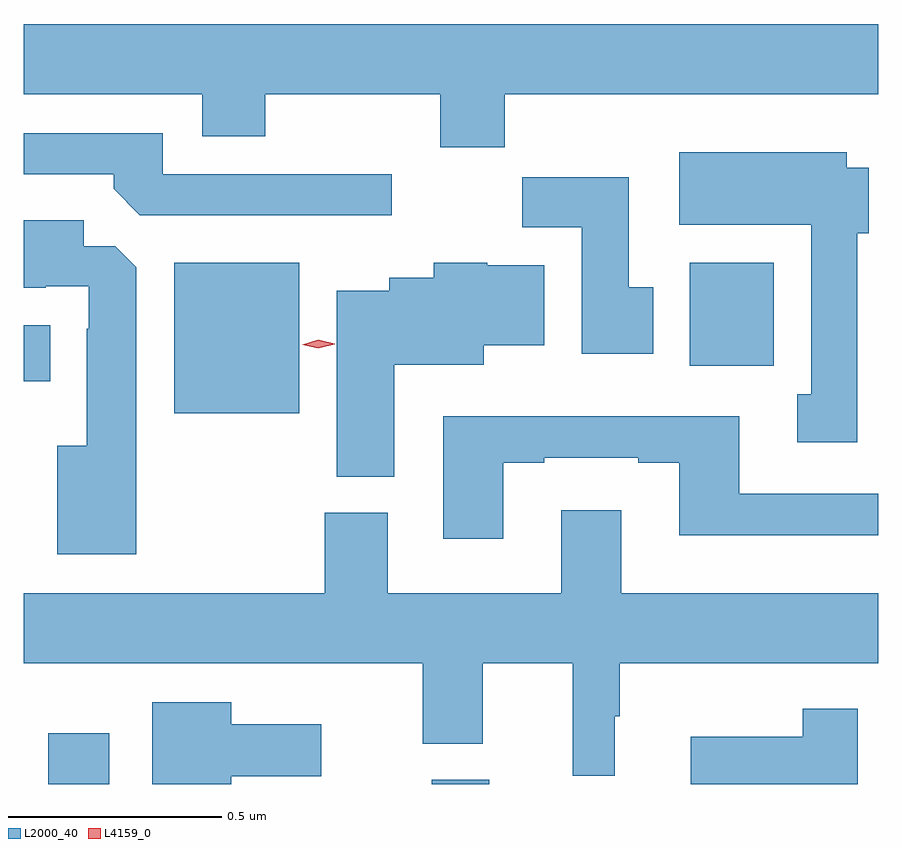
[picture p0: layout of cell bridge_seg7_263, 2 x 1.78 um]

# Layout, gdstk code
import gdstk
lib = gdstk.Library(unit=1e-6, precision=1e-09)
def R(c, l, rs):  # rectangles x0, y0, x1, y1
    for r in rs: c.add(gdstk.rectangle(r[:2], r[2:], *l))
def P(c, l, *ps):  # polygons
    for p in ps: c.add(gdstk.Polygon(p, *l))
L2000_40 = (2000, 40)
L4159_0 = (4159, 0)

bridge_seg7_263 = lib.new_cell('bridge_seg7_263')
R(bridge_seg7_263, L2000_40, [(170.669,1033.634,170.812,1033.753), (171.566,1033.634,171.7,1033.644), (170.963,1034.501,171.256,1034.854), (170.611,1034.576,170.674,1034.707), (172.169,1034.612,172.366,1034.854)])
P(bridge_seg7_263, L2000_40, [(171.737,1035.248),(172.611,1035.248),(172.611,1035.412),(170.611,1035.412),(170.611,1035.248),(171.029,1035.248),(171.029,1035.149),(171.177,1035.149),(171.177,1035.248),(171.586,1035.248),(171.586,1035.124),(171.737,1035.124)],
  [(171.472,1035.06),(170.937,1035.06),(170.937,1035.156),(170.611,1035.156),(170.611,1035.06),(170.822,1035.06),(170.822,1035.026),(170.883,1034.964),(171.472,1034.964)],
  [(172.561,1034.922),(172.588,1034.922),(172.588,1035.076),(172.537,1035.076),(172.537,1035.112),(172.145,1035.112),(172.145,1034.942),(172.454,1034.942),(172.454,1034.546),(172.421,1034.546),(172.421,1034.433),(172.561,1034.433)],
  [(172.084,1034.796),(172.027,1034.796),(172.027,1035.054),(171.778,1035.054),(171.778,1034.936),(171.917,1034.936),(171.917,1034.64),(172.084,1034.64)],
  [(170.875,1034.843),(170.826,1034.892),(170.752,1034.892),(170.752,1034.953),(170.611,1034.953),(170.611,1034.795),(170.663,1034.795),(170.663,1034.799),(170.763,1034.799),(170.763,1034.699),(170.759,1034.699),(170.759,1034.425),(170.69,1034.425),(170.69,1034.171),(170.875,1034.171)],
  [(171.478,1034.615),(171.688,1034.615),(171.688,1034.66),(171.829,1034.66),(171.829,1034.848),(171.696,1034.848),(171.696,1034.854),(171.571,1034.854),(171.571,1034.818),(171.467,1034.818),(171.467,1034.788),(171.344,1034.788),(171.344,1034.353),(171.478,1034.353)],
  [(171.733,1034.385),(171.829,1034.385),(171.829,1034.397),(172.049,1034.397),(172.049,1034.385),(172.145,1034.385),(172.145,1034.216),(172.611,1034.216),(172.611,1034.313),(172.285,1034.313),(172.285,1034.494),(171.593,1034.494),(171.593,1034.208),(171.733,1034.208)],
  [(171.994,1033.793),(172.006,1033.793),(172.006,1033.916),(172.611,1033.916),(172.611,1034.08),(172.009,1034.08),(172.009,1034.275),(171.869,1034.275),(171.869,1034.08),(171.463,1034.08),(171.463,1034.268),(171.316,1034.268),(171.316,1034.08),(170.611,1034.08),(170.611,1033.916),(171.545,1033.916),(171.545,1033.728),(171.685,1033.728),(171.685,1033.916),(171.896,1033.916),(171.896,1033.653),(171.994,1033.653)],
  [(171.097,1033.652),(171.307,1033.652),(171.307,1033.774),(171.097,1033.774),(171.097,1033.825),(170.912,1033.825),(170.912,1033.634),(171.097,1033.634)],
  [(172.562,1033.81),(172.434,1033.81),(172.434,1033.744),(172.172,1033.744),(172.172,1033.634),(172.562,1033.634)])
P(bridge_seg7_263, L4159_0, [(171.301,1034.653),(171.263,1034.662),(171.263,1034.662),(171.263,1034.662),(171.301,1034.673),(171.339,1034.664),(171.339,1034.663),(171.339,1034.663)])

lib.write_gds('bridge_seg7_263.gds')
